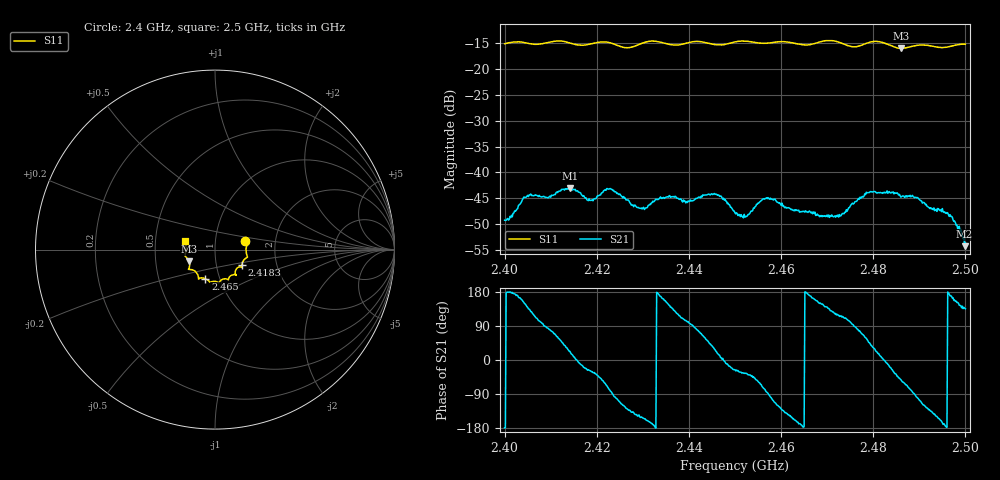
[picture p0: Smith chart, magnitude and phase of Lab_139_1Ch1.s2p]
# Hz S RI R 50
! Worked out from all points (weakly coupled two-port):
!   601 points, 2.4 GHz to 2.5 GHz, reference 50 ohm
!   highest |S21| = -43.11 dB at 2.4142 GHz (marker M1); lowest = -54.3 dB at 2.4998 GHz (marker M2)
!   lowest |S11| = -16.0 dB at 2.486 GHz (marker M3), VSWR 1.38, Z = 37.1 - j4.95 ohm
!   |S11| at or under -10 dB: start of sweep to end of sweep
!   S12 and S22 are empty: the file has one direction only
!   S11 on the Smith chart (normalised r, x): 2.4 GHz: 1.40, +0.13; 2.4183 GHz: 1.33, -0.24; 2.465 GHz: 0.86, -0.29; 2.5 GHz: 0.71, +0.07
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2.4e9  0.1689 0.0459  -0.00345 -6.54e-05  0 0  0 0
2.4045e9  0.1775 0.0233  -0.00482 0.00306  0 0  0 0
2.414167e9  0.1716 -0.0481  0.00643 0.00274  0 0  0 0
2.416667e9  0.1548 -0.0685  0.00594 -0.00136  0 0  0 0
2.418333e9  0.1497 -0.0869  0.00496 -0.00253  0 0  0 0
2.422667e9  0.1505 -0.0986  0.00153 -0.00673  0 0  0 0
2.429333e9  0.1128 -0.1318  -0.00391 -0.00225  0 0  0 0
2.433333e9  0.1167 -0.1413  -0.00545 0.000492  0 0  0 0
2.439667e9  0.0763 -0.161  -0.000949 0.00503  0 0  0 0
2.4455e9  0.0573 -0.1623  0.00545 0.00307  0 0  0 0
2.45e9  0.0252 -0.1806  0.00365 -0.00177  0 0  0 0
2.452667e9  0.0193 -0.1838  0.00304 -0.00228  0 0  0 0
2.457167e9  -0.0111 -0.1774  0.000186 -0.0057  0 0  0 0
2.465e9  -0.053 -0.1623  -0.0042 -0.000294  0 0  0 0
2.466667e9  -0.0715 -0.1574  -0.00398 0.00113  0 0  0 0
2.472667e9  -0.0917 -0.1554  -0.00166 0.00354  0 0  0 0
2.479e9  -0.1418 -0.1108  0.00441 0.00463  0 0  0 0
2.483333e9  -0.1423 -0.0959  0.00629 -0.00148  0 0  0 0
2.486e9  -0.1441 -0.065  0.00354 -0.00455  0 0  0 0
2.4965e9  -0.1626 0.0222  -0.00373 0.000408  0 0  0 0
2.499833e9  -0.1672 0.0467  -0.00141 0.00132  0 0  0 0
2.5e9  -0.1667 0.0472  -0.00148 0.00147  0 0  0 0
